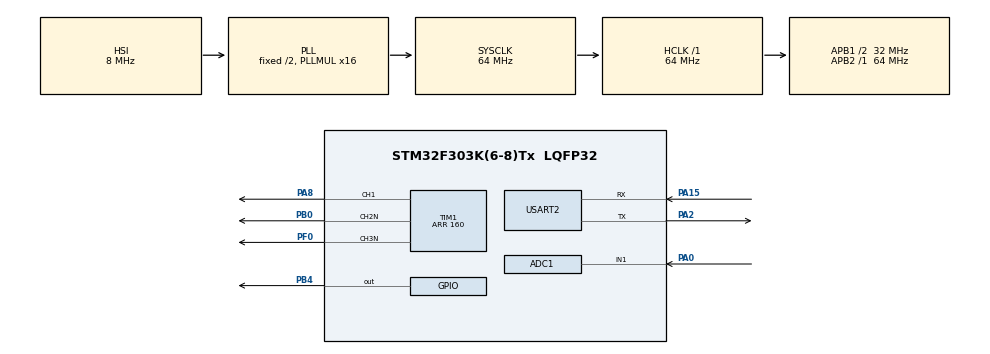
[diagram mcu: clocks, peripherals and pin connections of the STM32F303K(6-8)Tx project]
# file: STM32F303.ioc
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ADC1.Channel-0\#ChannelRegularConversion=ADC_CHANNEL_1
ADC1.NbrOfConversionFlag=1
ADC1.Offset-0\#ChannelRegularConversion=0
ADC1.OffsetNumber-0\#ChannelRegularConversion=ADC_OFFSET_NONE
ADC1.Rank-0\#ChannelRegularConversion=1
ADC1.SamplingTime-0\#ChannelRegularConversion=ADC_SAMPLETIME_1CYCLE_5
ADC1.SamplingTimeOPAMP-0\#ChannelRegularConversion=ADC_SAMPLETIME_61CYCLES_5
ADC1.SubFamily=STM32F303x8
ADC1.master=1
Dma.Request0=TIM1_CH1
Dma.Request1=TIM1_CH3
Dma.Request2=TIM1_CH2
Dma.TIM1_CH1.0.Direction=DMA_MEMORY_TO_PERIPH
Dma.TIM1_CH1.0.Instance=DMA1_Channel2
Dma.TIM1_CH1.0.MemDataAlignment=DMA_MDATAALIGN_BYTE
Dma.TIM1_CH1.0.MemInc=DMA_MINC_ENABLE
Dma.TIM1_CH1.0.Mode=DMA_CIRCULAR
Dma.TIM1_CH1.0.PeriphDataAlignment=DMA_PDATAALIGN_HALFWORD
Dma.TIM1_CH1.0.PeriphInc=DMA_PINC_DISABLE
Dma.TIM1_CH1.0.Priority=DMA_PRIORITY_LOW
Dma.TIM1_CH2.2.Direction=DMA_MEMORY_TO_PERIPH
Dma.TIM1_CH2.2.Instance=DMA1_Channel3
Dma.TIM1_CH2.2.MemDataAlignment=DMA_MDATAALIGN_BYTE
Dma.TIM1_CH2.2.MemInc=DMA_MINC_ENABLE
Dma.TIM1_CH2.2.Mode=DMA_CIRCULAR
Dma.TIM1_CH2.2.PeriphDataAlignment=DMA_PDATAALIGN_HALFWORD
Dma.TIM1_CH2.2.PeriphInc=DMA_PINC_DISABLE
Dma.TIM1_CH2.2.Priority=DMA_PRIORITY_LOW
Dma.TIM1_CH3.1.Direction=DMA_MEMORY_TO_PERIPH
Dma.TIM1_CH3.1.Instance=DMA1_Channel6
Dma.TIM1_CH3.1.MemDataAlignment=DMA_MDATAALIGN_BYTE
Dma.TIM1_CH3.1.MemInc=DMA_MINC_ENABLE
Dma.TIM1_CH3.1.Mode=DMA_CIRCULAR
Dma.TIM1_CH3.1.PeriphDataAlignment=DMA_PDATAALIGN_HALFWORD
Dma.TIM1_CH3.1.PeriphInc=DMA_PINC_DISABLE
Dma.TIM1_CH3.1.Priority=DMA_PRIORITY_LOW
Mcu.Family=STM32F3
Mcu.Name=STM32F303K(6-8)Tx
Mcu.Package=LQFP32
NVIC.DMA1_Channel2_IRQn=true\:0\:0\:false\:false\:true\:false\:true\:true
NVIC.DMA1_Channel3_IRQn=true\:0\:0\:false\:false\:true\:false\:true\:true
NVIC.DMA1_Channel6_IRQn=true\:0\:0\:false\:false\:true\:false\:true\:true
NVIC.PriorityGroup=NVIC_PRIORITYGROUP_4
NVIC.TIM1_TRG_COM_TIM17_IRQn=true\:0\:0\:false\:false\:true\:true\:true\:true
NVIC.TIM1_UP_TIM16_IRQn=true\:0\:0\:false\:false\:true\:true\:true\:true
NVIC.USART2_IRQn=true\:0\:0\:false\:false\:true\:true\:true\:true
PA0.Mode=IN1-Single-Ended
PA0.Signal=ADC1_IN1
PA13.Mode=Trace_Asynchronous_SW
PA13.Signal=SYS_JTMS-SWDIO
PA14.Mode=Trace_Asynchronous_SW
PA14.Signal=SYS_JTCK-SWCLK
PA15.Mode=Asynchronous
PA15.Signal=USART2_RX
PA2.Mode=Asynchronous
PA2.Signal=USART2_TX
PA8.GPIO_Speed=GPIO_SPEED_FREQ_HIGH
PA8.Signal=S_TIM1_CH1
PB0.GPIO_Speed=GPIO_SPEED_FREQ_HIGH
PB0.Mode=PWM Generation2 CH2N
PB0.Signal=TIM1_CH2N
PB3.Mode=Trace_Asynchronous_SW
PB3.Signal=SYS_JTDO-TRACESWO
PB4.PinState=GPIO_PIN_RESET
PB4.Signal=GPIO_Output
PF0\ /\ OSC_IN.GPIO_ModeDefaultPP=GPIO_MODE_AF_PP
PF0\ /\ OSC_IN.GPIO_Speed=GPIO_SPEED_FREQ_HIGH
PF0\ /\ OSC_IN.Mode=PWM Generation3 CH3N
PF0\ /\ OSC_IN.Signal=TIM1_CH3N
ProjectManager.HeapSize=0x0
ProjectManager.StackSize=0x400
ProjectManager.TargetToolchain=Makefile
RCC.AHBFreq_Value=64000000
RCC.APB1CLKDivider=RCC_HCLK_DIV2
RCC.APB1Freq_Value=32000000
RCC.APB1TimFreq_Value=64000000
RCC.APB2Freq_Value=64000000
RCC.APB2TimFreq_Value=64000000
RCC.CortexFreq_Value=64000000
RCC.HCLKFreq_Value=64000000
RCC.HSE_VALUE=8000000
RCC.HSI_VALUE=8000000
RCC.PLLMUL=RCC_PLL_MUL16
RCC.PREFETCH_ENABLE=1
RCC.RCC_MCODiv=RCC_MCODIV_64
RCC.SYSCLKFreq_VALUE=64000000
RCC.SYSCLKSourceVirtual=RCC_SYSCLKSOURCE_PLLCLK
RCC.TIM1Selection=RCC_TIM1CLK_PLLCLK
SH.S_TIM1_CH1.0=TIM1_CH1,PWM Generation1 CH1
TIM1.AutoReloadPreload=TIM_AUTORELOAD_PRELOAD_ENABLE
TIM1.Channel-PWM\ Generation1\ CH1=TIM_CHANNEL_1
TIM1.Channel-PWM\ Generation2\ CH2N=TIM_CHANNEL_2
TIM1.Channel-PWM\ Generation3\ CH3N=TIM_CHANNEL_3
TIM1.OCNPolarity_3=TIM_OCNPOLARITY_HIGH
TIM1.Period=160
TIM16.AutoReloadPreload=TIM_AUTORELOAD_PRELOAD_ENABLE
TIM16.Period=COUNTER_VALUE
TIM16.Prescaler=64000
TIM17.AutoReloadPreload=TIM_AUTORELOAD_PRELOAD_ENABLE
TIM17.Period=64000
TIM17.Prescaler=64
TIM6.Prescaler=64
USART2.VirtualMode-Asynchronous=VM_ASYNC
VP_TIM16_VS_ClockSourceINT.Mode=Enable_Timer
VP_TIM17_VS_ClockSourceINT.Mode=Enable_Timer
VP_TIM1_VS_ClockSourceINT.Mode=Internal
VP_TIM6_VS_ClockSourceINT.Mode=Enable_Timer
board=custom

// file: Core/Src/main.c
/* USER CODE BEGIN Header */
/**
  ******************************************************************************
  * @file           : main.c
  * @brief          : Main program body
  ******************************************************************************
  * @attention
  *
  * <h2><center>&copy; Copyright (c) 2022 STMicroelectronics.
  * All rights reserved.</center></h2>
  *
  * This software component is licensed by ST under BSD 3-Clause license,
  * the "License"; You may not use this file except in compliance with the
  * License. You may obtain a copy of the License at:
  *                        opensource.org/licenses/BSD-3-Clause
  *
  ******************************************************************************
  */
/* USER CODE END Header */
#include "main.h"
#include "adc.h"
#include "dma.h"
#include "tim.h"
#include "usart.h"
#include "gpio.h"

/* USER CODE BEGIN Includes */
#include "process_data.h"
#include "led_position.h"
#include "pattern_generate.h"
/* USER CODE END Includes */

void SystemClock_Config(void);

int main(void)
{
  /* USER CODE BEGIN 1 */
  static pattern next_effect  __attribute__ ((section(".ccmram")));

  if ((next_effect >= N_EFFECTS) | (next_effect < 0)) {
    next_effect = 0;
  }
  set_effect(next_effect);
  //set_effect(MATRIX);
  next_effect++;
  /* USER CODE END 1 */

  /* MCU Configuration--------------------------------------------------------*/

  /* Reset of all peripherals, Initializes the Flash interface and the Systick. */
  HAL_Init();

  /* Configure the system clock */
  SystemClock_Config();

  /* USER CODE BEGIN SysInit */

  /* Freeze all timers when code is paused during debug*/
  __HAL_DBGMCU_FREEZE_TIM1();
  __HAL_DBGMCU_FREEZE_TIM16();
  __HAL_DBGMCU_FREEZE_TIM17();

  /* USER CODE END SysInit */

  /* Initialize all configured peripherals */
  MX_GPIO_Init();
  MX_DMA_Init();
  MX_TIM1_Init();
  MX_ADC1_Init();
  MX_TIM17_Init();
  MX_TIM16_Init();
  MX_USART2_UART_Init();
  MX_TIM6_Init();
  /* USER CODE BEGIN 2 */

  led_initialization();

  HAL_TIM_Base_Start_IT(&htim16);

  init_pwm();

  start_transmission();
  start_uart();

  HAL_GPIO_WritePin(GPIOB, GPIO_PIN_4, GPIO_PIN_SET);
  /* USER CODE END 2 */

  /* Infinite loop */
  /* USER CODE BEGIN WHILE */
  while (1)
  {
    process_data();
    /* USER CODE END WHILE */

  }
}

void SystemClock_Config(void)
{
  RCC_OscInitTypeDef RCC_OscInitStruct = {0};
  RCC_ClkInitTypeDef RCC_ClkInitStruct = {0};
  RCC_PeriphCLKInitTypeDef PeriphClkInit = {0};

  /** Initializes the RCC Oscillators according to the specified parameters
  * in the RCC_OscInitTypeDef structure.
  */
  RCC_OscInitStruct.OscillatorType = RCC_OSCILLATORTYPE_HSI;
  RCC_OscInitStruct.HSIState = RCC_HSI_ON;
  RCC_OscInitStruct.HSICalibrationValue = RCC_HSICALIBRATION_DEFAULT;
  RCC_OscInitStruct.PLL.PLLState = RCC_PLL_ON;
  RCC_OscInitStruct.PLL.PLLSource = RCC_PLLSOURCE_HSI;
  RCC_OscInitStruct.PLL.PLLMUL = RCC_PLL_MUL16;
  if (HAL_RCC_OscConfig(&RCC_OscInitStruct) != HAL_OK)
  {
    Error_Handler();
  }
  /** Initializes the CPU, AHB and APB buses clocks
  */
  RCC_ClkInitStruct.ClockType = RCC_CLOCKTYPE_HCLK|RCC_CLOCKTYPE_SYSCLK
                              |RCC_CLOCKTYPE_PCLK1|RCC_CLOCKTYPE_PCLK2;
  RCC_ClkInitStruct.SYSCLKSource = RCC_SYSCLKSOURCE_PLLCLK;
  RCC_ClkInitStruct.AHBCLKDivider = RCC_SYSCLK_DIV1;
  RCC_ClkInitStruct.APB1CLKDivider = RCC_HCLK_DIV2;
  RCC_ClkInitStruct.APB2CLKDivider = RCC_HCLK_DIV1;

  if (HAL_RCC_ClockConfig(&RCC_ClkInitStruct, FLASH_LATENCY_2) != HAL_OK)
  {
    Error_Handler();
  }
  PeriphClkInit.PeriphClockSelection = RCC_PERIPHCLK_TIM1|RCC_PERIPHCLK_ADC12;
  PeriphClkInit.Adc12ClockSelection = RCC_ADC12PLLCLK_DIV1;
  PeriphClkInit.Tim1ClockSelection = RCC_TIM1CLK_PLLCLK;
  if (HAL_RCCEx_PeriphCLKConfig(&PeriphClkInit) != HAL_OK)
  {
    Error_Handler();
  }
}

void Error_Handler(void)
{
  /* USER CODE BEGIN Error_Handler_Debug */
  /* User can add his own implementation to report the HAL error return state */
    __BKPT();
  /* USER CODE END Error_Handler_Debug */
}

/************************ (C) COPYRIGHT STMicroelectronics *****END OF FILE****/
